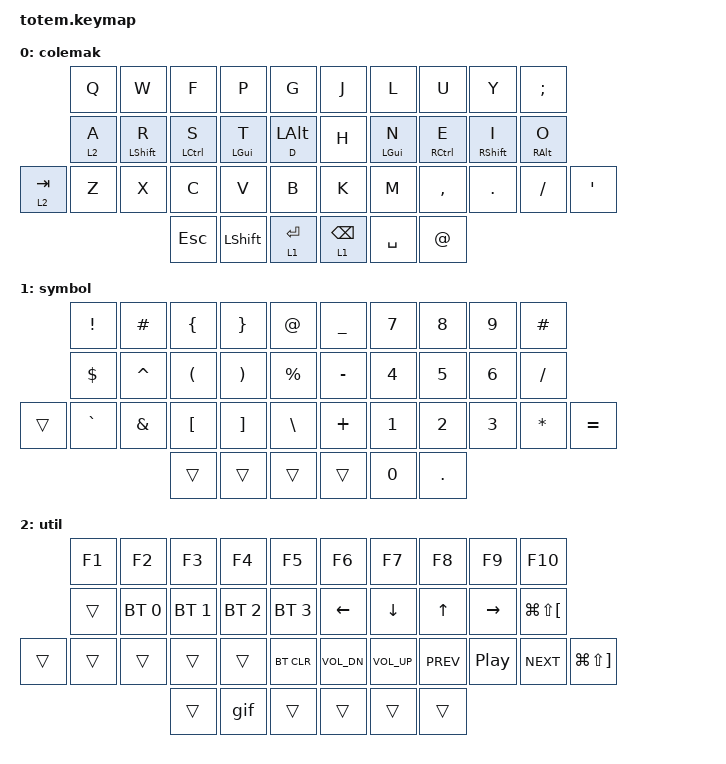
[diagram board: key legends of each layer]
//
//                                                        ▀▀▀▀▀     ▀▀▀▀▀          ▀▀█▀▀
//                                                        ▄▀▀▀▄  ▄  ▄▀▀▀▄  ▄  ▄▀▀▀▄  █  ▄▀▀▀▄
//                                                        █   █  █  █   █  █  █   █  █  █   █
//                                                         ▀▀▀   █   ▀▀▀   █   ▀▀▀   ▀   ▀▀▀
//                                                               █      ▄▄▄█▄▄▄    █   █  
//                                                               ▀      █  █  █     █▄█
//                                                             ▀▀▀▀▀    █  █  █      ▀
//                                                                      ▀  ▀  ▀
//
// ▄▄▄▄▄▄▄▄▄▄▄▄▄▄▄▄▄▄▄▄▄▄▄▄▄▄▄▄▄▄▄▄▄▄▄▄▄▄▄▄▄▄▄▄▄▄▄▄▄▄▄▄▄▄▄▄▄▄▄▄▄▄▄▄▄▄▄▄▄▄▄▄▄▄▄▄▄▄▄▄▄▄▄▄▄▄▄▄▄▄▄▄▄▄▄▄▄▄▄▄▄▄▄▄▄▄▄▄▄▄▄▄▄▄▄▄▄▄▄▄▄▄▄▄▄▄▄▄▄▄▄▄▄▄▄▄▄▄▄▄▄▄▄▄▄▄▄▄▄

#include <behaviors.dtsi>
#include <dt-bindings/zmk/bt.h>
#include <dt-bindings/zmk/keys.h>

#define BASE 0
#define NAV  1
#define SYM  2
#define ADJ  3
#define TVP1 4
#define TVP2 5

&lt { quick-tap-ms = <200>; };

/ {
    combos {
        compatible = "zmk,combos";

        combo_esc {
            timeout-ms = <50>;
            key-positions = <0 1>;
            bindings = <&kp ESC>;
        };

        combo_tvp {
            timeout-ms = <100>;
            key-positions = <11 12 13>;
            bindings = <&tog 0>;
        };
    };

    macros {
        gif: gif {
            label = "giphy";
            compatible = "zmk,behavior-macro";
            #binding-cells = <0>;
            bindings =
                <&macro_press>,
                <&kp LSHFT>,
                <&macro_tap>,
                <&kp N2>,
                <&macro_release>,
                <&kp LSHFT>,
                <&macro_tap>,
                <&kp G &kp I &kp F>;
        };
    };

    behaviors {
        hm: homerow_mods {
            compatible = "zmk,behavior-hold-tap";
            bindings = <&kp>, <&kp>;

            #binding-cells = <2>;
            tapping-term-ms = <175>;
            quick-tap-ms = <85>;
            require-prior-idle-ms = <125>;
            flavor = "tap-preferred";
        };
    };

    keymap {
        compatible = "zmk,keymap";

        // ▄▄▄▄▄▄▄▄▄▄▄▄▄▄▄▄▄▄▄▄▄▄▄▄▄▄▄▄▄▄▄▄▄▄▄▄▄▄▄▄▄▄▄▄▄▄▄▄▄▄▄▄▄▄▄▄▄▄▄▄▄▄▄▄▄▄▄▄▄▄▄▄▄▄▄▄▄▄▄▄▄▄▄▄▄▄▄▄▄▄▄▄▄▄▄▄▄▄▄▄▄▄▄▄▄▄▄▄▄▄▄▄▄▄▄▄▄▄▄▄▄▄▄▄▄▄▄▄▄▄▄▄▄▄▄▄▄▄▄▄▄▄▄▄▄▄▄▄▄

        colemak {
            // ┏━━━━━━━━━━━━━━━━━━━━━━━━━━━━━━━━━━━━━━━┓

            label = "colemak";

            // ┗━━━━━━━━━━━━━━━━━━━━━━━━━━━━━━━━━━━━━━━┛
            //             ┏━━━━━━━━━━━┳━━━━━━━━━━━┳━━━━━━━━━━━┳━━━━━━━━━━━┳━━━━━━━━━━━┓   ┏━━━━━━━━━━━┳━━━━━━━━━━━┳━━━━━━━━━━━┳━━━━━━━━━━━┳━━━━━━━━━━━┓
            //             ┃     Q     ┃     W     ┃     F     ┃     P     ┃     G     ┃   ┃     J     ┃     L     ┃     U     ┃     Y     ┃     ;     ┃
            //             ┣━━━━━━━━━━━╋━━━━━━━━━━━╋━━━━━━━━━━━╋━━━━━━━━━━━╋━━━━━━━━━━━┫   ┣━━━━━━━━━━━╋━━━━━━━━━━━╋━━━━━━━━━━━╋━━━━━━━━━━━╋━━━━━━━━━━━┫
            //             ┃     A     ┃     R     ┃     S     ┃     T     ┃     D     ┃   ┃     H     ┃     N     ┃     E     ┃     I     ┃     O     ┃
            // ┏━━━━━━━━━━━╋━━━━━━━━━━━╋━━━━━━━━━━━╋━━━━━━━━━━━╋━━━━━━━━━━━╋━━━━━━━━━━━┫   ┣━━━━━━━━━━━╋━━━━━━━━━━━╋━━━━━━━━━━━╋━━━━━━━━━━━╋━━━━━━━━━━━╋━━━━━━━━━━━┓
            // ┃     Q     ┃     Z     ┃     X     ┃     C     ┃     V     ┃     B     ┃   ┃     K     ┃     M     ┃     ,     ┃     .     ┃     /     ┃     \     ┃
            // ┗━━━━━━━━━━━┻━━━━━━━━━━━┻━━━━━━━━━━━╋━━━━━━━━━━━╋━━━━━━━━━━━╋━━━━━━━━━━━┫   ┣━━━━━━━━━━━╋━━━━━━━━━━━╋━━━━━━━━━━━╋━━━━━━━━━━━┻━━━━━━━━━━━┻━━━━━━━━━━━┛
            //                                     ┃    DEL    ┃    TAB    ┃    SPC    ┃   ┃   ENTER   ┃           ┃   BSPC    ┃
            //                                     ┗━━━━━━━━━━━┻━━━━━━━━━━━┻━━━━━━━━━━━┛   ┗━━━━━━━━━━━┻━━━━━━━━━━━┻━━━━━━━━━━━┛

            bindings = <
           &kp Q    &kp W         &kp F        &kp P           &kp G             &kp J            &kp L           &kp U        &kp Y         &kp SEMI
           &lt 2 A  &hm LSHIFT R  &hm LCTRL S  &hm LGUI T      &hm D LEFT_ALT    &kp H            &hm LEFT_GUI N  &hm RCTRL E  &hm RSHIFT I  &hm RALT O
&lt 2 TAB  &kp Z    &kp X         &kp C        &kp V           &kp B             &kp K            &kp M           &kp COMMA    &kp DOT       &kp FSLH    &kp SQT
                                  &kp ESCAPE   &kp LEFT_SHIFT  &lt 1 RETURN      &lt 1 BACKSPACE  &kp SPACE       &kp AT
            >;
        };

        // ▄▄▄▄▄▄▄▄▄▄▄▄▄▄▄▄▄▄▄▄▄▄▄▄▄▄▄▄▄▄▄▄▄▄▄▄▄▄▄▄▄▄▄▄▄▄▄▄▄▄▄▄▄▄▄▄▄▄▄▄▄▄▄▄▄▄▄▄▄▄▄▄▄▄▄▄▄▄▄▄▄▄▄▄▄▄▄▄▄▄▄▄▄▄▄▄▄▄▄▄▄▄▄▄▄▄▄▄▄▄▄▄▄▄▄▄▄▄▄▄▄▄▄▄▄▄▄▄▄▄▄▄▄▄▄▄▄▄▄▄▄▄▄▄▄▄▄▄▄

        symbol {
            // ┏━━━━━━━━━━━━━━━━━━━━━━━━━━━━━━━━━━━━━━━┓

            label = "symbol";

            // ┗━━━━━━━━━━━━━━━━━━━━━━━━━━━━━━━━━━━━━━━┛
            //             ┏━━━━━━━━━━━┳━━━━━━━━━━━┳━━━━━━━━━━━┳━━━━━━━━━━━┳━━━━━━━━━━━┓   ┏━━━━━━━━━━━┳━━━━━━━━━━━┳━━━━━━━━━━━┳━━━━━━━━━━━┳━━━━━━━━━━━┓
            //             ┃           ┃           ┃     UP    ┃           ┃     {     ┃   ┃     }     ┃     7     ┃     8     ┃     9     ┃     +     ┃
            //             ┣━━━━━━━━━━━╋━━━━━━━━━━━╋━━━━━━━━━━━╋━━━━━━━━━━━╋━━━━━━━━━━━┫   ┣━━━━━━━━━━━╋━━━━━━━━━━━╋━━━━━━━━━━━╋━━━━━━━━━━━╋━━━━━━━━━━━┫
            //             ┃   SHIFT   ┃   LEFT    ┃    DOWN   ┃   RIGHT   ┃     [     ┃   ┃     ]     ┃     4     ┃     5     ┃     6     ┃     -     ┃
            // ┏━━━━━━━━━━━╋━━━━━━━━━━━╋━━━━━━━━━━━╋━━━━━━━━━━━╋━━━━━━━━━━━╋━━━━━━━━━━━┫   ┣━━━━━━━━━━━╋━━━━━━━━━━━╋━━━━━━━━━━━╋━━━━━━━━━━━╋━━━━━━━━━━━╋━━━━━━━━━━━┓
            // ┃           ┃           ┃   P UP    ┃  C LOCK   ┃  P DOWN   ┃     (     ┃   ┃     )     ┃     1     ┃     2     ┃     3     ┃     *     ┃           ┃
            // ┗━━━━━━━━━━━┻━━━━━━━━━━━┻━━━━━━━━━━━╋━━━━━━━━━━━╋━━━━━━━━━━━╋━━━━━━━━━━━┫   ┣━━━━━━━━━━━╋━━━━━━━━━━━╋━━━━━━━━━━━╋━━━━━━━━━━━┻━━━━━━━━━━━┻━━━━━━━━━━━┛
            //                                     ┃           ┃    TAB    ┃    SPC    ┃   ┃    DEL    ┃     0     ┃           ┃
            //                                     ┗━━━━━━━━━━━┻━━━━━━━━━━━┻━━━━━━━━━━━┛   ┗━━━━━━━━━━━┻━━━━━━━━━━━┻━━━━━━━━━━━┛

            bindings = <
        &kp EXCLAMATION  &kp HASH       &kp LEFT_BRACE        &kp RIGHT_BRACE        &kp AT_SIGN      &kp UNDERSCORE  &kp N7        &kp N8        &kp N9        &kp HASH
        &kp DOLLAR       &kp CARET      &kp LEFT_PARENTHESIS  &kp RIGHT_PARENTHESIS  &kp PERCENT      &kp MINUS       &kp NUMBER_4  &kp N5        &kp NUMBER_6  &kp SLASH
&trans  &kp GRAVE        &kp AMPERSAND  &kp LEFT_BRACKET      &kp RIGHT_BRACKET      &kp BACKSLASH    &kp PLUS        &kp NUMBER_1  &kp NUMBER_2  &kp NUMBER_3  &kp ASTERISK  &kp EQUAL
                                        &trans                &trans                 &trans           &trans          &kp N0        &kp PERIOD
            >;
        };

        // ▄▄▄▄▄▄▄▄▄▄▄▄▄▄▄▄▄▄▄▄▄▄▄▄▄▄▄▄▄▄▄▄▄▄▄▄▄▄▄▄▄▄▄▄▄▄▄▄▄▄▄▄▄▄▄▄▄▄▄▄▄▄▄▄▄▄▄▄▄▄▄▄▄▄▄▄▄▄▄▄▄▄▄▄▄▄▄▄▄▄▄▄▄▄▄▄▄▄▄▄▄▄▄▄▄▄▄▄▄▄▄▄▄▄▄▄▄▄▄▄▄▄▄▄▄▄▄▄▄▄▄▄▄▄▄▄▄▄▄▄▄▄▄▄▄▄▄▄▄

        util {
            // ┏━━━━━━━━━━━━━━━━━━━━━━━━━━━━━━━━━━━━━━━┓

            label = "util";

            // ┗━━━━━━━━━━━━━━━━━━━━━━━━━━━━━━━━━━━━━━━┛
            //             ┏━━━━━━━━━━━┳━━━━━━━━━━━┳━━━━━━━━━━━┳━━━━━━━━━━━┳━━━━━━━━━━━┓   ┏━━━━━━━━━━━┳━━━━━━━━━━━┳━━━━━━━━━━━┳━━━━━━━━━━━┳━━━━━━━━━━━┓
            //             ┃     !     ┃     @     ┃     #     ┃     $     ┃     %     ┃   ┃     ˆ     ┃     &     ┃     Ü     ┃     '     ┃     "     ┃
            //             ┣━━━━━━━━━━━╋━━━━━━━━━━━╋━━━━━━━━━━━╋━━━━━━━━━━━╋━━━━━━━━━━━┫   ┣━━━━━━━━━━━╋━━━━━━━━━━━╋━━━━━━━━━━━╋━━━━━━━━━━━╋━━━━━━━━━━━┫
            //             ┃     Ä     ┃           ┃    SZ     ┃           ┃           ┃   ┃   MUTE    ┃   YEN     ┃   EURO    ┃  POUND    ┃     Ö     ┃
            // ┏━━━━━━━━━━━╋━━━━━━━━━━━╋━━━━━━━━━━━╋━━━━━━━━━━━╋━━━━━━━━━━━╋━━━━━━━━━━━┫   ┣━━━━━━━━━━━╋━━━━━━━━━━━╋━━━━━━━━━━━╋━━━━━━━━━━━╋━━━━━━━━━━━╋━━━━━━━━━━━┓
            // ┃           ┃  EMAIL1   ┃  EMAIL2   ┃           ┃           ┃           ┃   ┃   VOL-    ┃   VOL+    ┃   LAST    ┃   NEXT    ┃     \     ┃           ┃
            // ┗━━━━━━━━━━━┻━━━━━━━━━━━┻━━━━━━━━━━━╋━━━━━━━━━━━╋━━━━━━━━━━━╋━━━━━━━━━━━┫   ┣━━━━━━━━━━━╋━━━━━━━━━━━╋━━━━━━━━━━━╋━━━━━━━━━━━┻━━━━━━━━━━━┻━━━━━━━━━━━┛
            //                                     ┃           ┃    GIF    ┃    ADJ    ┃   ┃           ┃           ┃           ┃
            //                                     ┗━━━━━━━━━━━┻━━━━━━━━━━━┻━━━━━━━━━━━┛   ┗━━━━━━━━━━━┻━━━━━━━━━━━┻━━━━━━━━━━━┛

            bindings = <
        &kp F1  &kp F2        &kp F3        &kp F4        &kp F5          &kp F6        &kp F7        &kp F8      &kp F9     &kp F10
        &trans  &bt BT_SEL 0  &bt BT_SEL 1  &bt BT_SEL 2  &bt BT_SEL 3    &kp LEFT      &kp DOWN      &kp UP      &kp RIGHT  &kp LG(LS(LEFT_BRACKET))
&trans  &trans  &trans        &trans        &trans        &bt BT_CLR      &kp C_VOL_DN  &kp C_VOL_UP  &kp C_PREV  &kp C_PP   &kp C_NEXT                &kp LG(LS(RIGHT_BRACKET))
                              &trans        &gif          &trans          &trans        &trans        &trans
            >;
        };

        // ▄▄▄▄▄▄▄▄▄▄▄▄▄▄▄▄▄▄▄▄▄▄▄▄▄▄▄▄▄▄▄▄▄▄▄▄▄▄▄▄▄▄▄▄▄▄▄▄▄▄▄▄▄▄▄▄▄▄▄▄▄▄▄▄▄▄▄▄▄▄▄▄▄▄▄▄▄▄▄▄▄▄▄▄▄▄▄▄▄▄▄▄▄▄▄▄▄▄▄▄▄▄▄▄▄▄▄▄▄▄▄▄▄▄▄▄▄▄▄▄▄▄▄▄▄▄▄▄▄▄▄▄▄▄▄▄▄▄▄▄▄▄▄▄▄▄▄▄▄
        // ▄▄▄▄▄▄▄▄▄▄▄▄▄▄▄▄▄▄▄▄▄▄▄▄▄▄▄▄▄▄▄▄▄▄▄▄▄▄▄▄▄▄▄▄▄▄▄▄▄▄▄▄▄▄▄▄▄▄▄▄▄▄▄▄▄▄▄▄▄▄▄▄▄▄▄▄▄▄▄▄▄▄▄▄▄▄▄▄▄▄▄▄▄▄▄▄▄▄▄▄▄▄▄▄▄▄▄▄▄▄▄▄▄▄▄▄▄▄▄▄▄▄▄▄▄▄▄▄▄▄▄▄▄▄▄▄▄▄▄▄▄▄▄▄▄▄▄▄▄
        // ▄▄▄▄▄▄▄▄▄▄▄▄▄▄▄▄▄▄▄▄▄▄▄▄▄▄▄▄▄▄▄▄▄▄▄▄▄▄▄▄▄▄▄▄▄▄▄▄▄▄▄▄▄▄▄▄▄▄▄▄▄▄▄▄▄▄▄▄▄▄▄▄▄▄▄▄▄▄▄▄▄▄▄▄▄▄▄▄▄▄▄▄▄▄▄▄▄▄▄▄▄▄▄▄▄▄▄▄▄▄▄▄▄▄▄▄▄▄▄▄▄▄▄▄▄▄▄▄▄▄▄▄▄▄▄▄▄▄▄▄▄▄▄▄▄▄▄▄▄
    };
};
